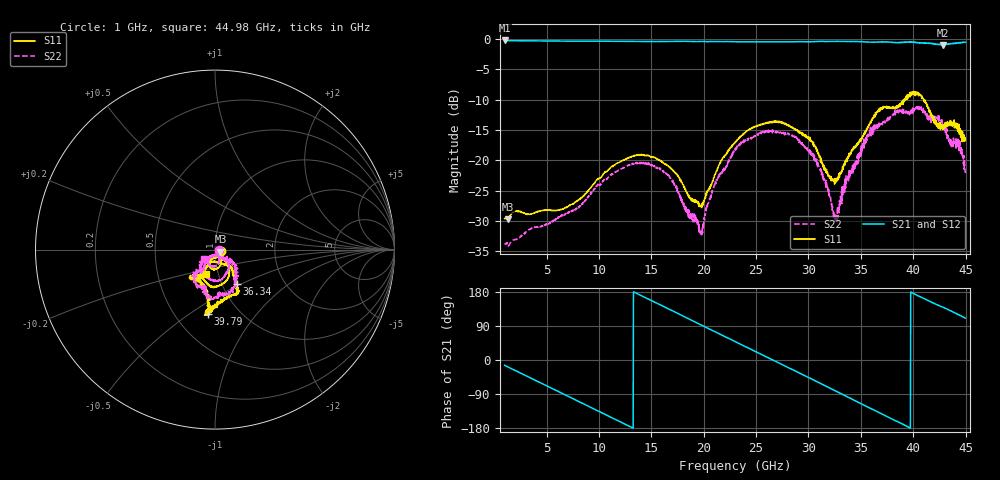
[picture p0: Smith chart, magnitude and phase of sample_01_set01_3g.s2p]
!Keysight Technologies,N5247B,MY61255062,A.19.80.06
!Date: Friday, March 13, 2026 17:34:01
!Correction: S11(C  2-Port  )
!S21(C  2-Port  )
!S12(C  2-Port  )
!S22(C  2-Port  )
!S2P File: Measurements: S11, S21, S12, S22:
# Hz S  dB  R 50
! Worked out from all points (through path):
!   1467 points, 1 GHz to 44.98 GHz, reference 50 ohm
!   highest |S21| = -0.21 dB at 1 GHz (marker M1); lowest = -0.9 dB at 42.85 GHz (marker M2)
!   group delay of S21, straight-line fit = 37.7 ps
!   lowest |S11| = -29.7 dB at 1.3 GHz (marker M3), VSWR 1.07, Z = 53.1 - j1.28 ohm
!   |S11| at or under -10 dB: start of sweep to 39.07 GHz; 39.07235 GHz to 39.1517 GHz (79.35 MHz wide, 0.203 % of centre); 41.02 GHz to end of sweep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
!   |S22| runs from -34.2 to -11.1 dB; largest |S21 - S12| = 0.0082
!   S11 on the Smith chart (normalised r, x): 1 GHz: 1.06, -0.02; 36.34 GHz: 1.17, -0.48; 39.79 GHz: 0.72, -0.59; 44.98 GHz: 0.87, -0.24
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1e9  -29.61 -18.3  -0.21 -14.0  -0.21 -14.0  -33.70 -10.2
1.3e9  -29.74 -21.7  -0.24 -18.1  -0.24 -18.1  -33.98 -20.7
5.02e9  -28.21 -64.4  -0.30 -68.3  -0.30 -68.3  -30.62 -64.5
8.35e9  -26.14 -58.6  -0.32 -113.1  -0.32 -113.1  -27.42 -62.6
1.213e10  -20.13 -75.4  -0.36 -164.4  -0.36 -164.4  -21.40 -81.3
1.567e10  -19.86 -106.9  -0.39 148.0  -0.39 148.1  -21.22 -114.3
1.783e10  -23.27 -116.0  -0.35 118.8  -0.34 118.8  -26.61 -128.3
1.972e10  -27.65 -75.9  -0.37 93.2  -0.36 93.2  -32.16 -77.6
2.104e10  -22.43 -50.3  -0.38 75.2  -0.37 75.3  -23.93 -43.6
2.299e10  -16.96 -55.8  -0.42 48.6  -0.41 48.7  -18.20 -52.1
2.488e10  -14.47 -72.7  -0.43 23.1  -0.42 23.2  -15.96 -71.8
2.668e10  -13.69 -91.0  -0.44 -1.1  -0.42 -1.1  -15.23 -92.7
2.854e10  -14.64 -107.7  -0.43 -26.2  -0.42 -26.1  -16.11 -107.2
3.034e10  -16.97 -115.4  -0.41 -50.6  -0.40 -50.5  -18.80 -121.6
3.262e10  -23.54 -89.8  -0.37 -82.1  -0.36 -82.1  -29.85 -80.4
3.37e10  -19.55 -52.9  -0.38 -96.9  -0.37 -96.9  -23.00 -39.1
3.634e10  -12.85 -58.1  -0.49 -133.3  -0.47 -133.3  -14.87 -54.3
3.766e10  -11.38 -66.4  -0.46 -151.5  -0.45 -151.3  -13.35 -58.7
3.979e10  -8.86 -96.6  -0.43 179.3  -0.44 179.3  -11.74 -84.5
4.285e10  -14.91 -127.8  -0.93 139.2  -0.87 139.5  -13.84 -128.2
4.438e10  -14.82 -125.5  -0.61 119.1  -0.60 118.9  -16.60 -125.0
4.498e10  -16.73 -110.9  -0.50 110.5  -0.44 110.7  -22.09 -139.2
